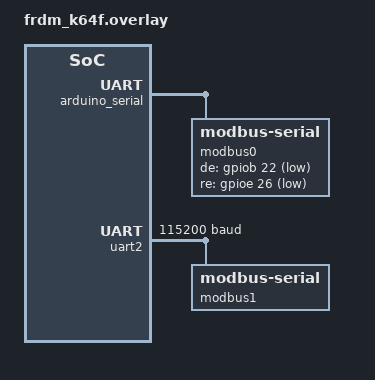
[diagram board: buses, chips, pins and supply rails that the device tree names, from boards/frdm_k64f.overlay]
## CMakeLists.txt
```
# Copyright (c) 2020 PHYTEC Messtechnik GmbH
# SPDX-License-Identifier: Apache-2.0

cmake_minimum_required(VERSION 3.28.0)

find_package(Zephyr REQUIRED HINTS $ENV{ZEPHYR_BASE})
project(test_modbus)

target_sources(app PRIVATE
    src/main.c
    src/test_modbus_client.c
    src/test_modbus_server.c
    src/test_modbus_raw.c
    )

if(CONFIG_UART_EMUL)
  # No serial hardware: connect two emulated UARTs crosswise.
  target_sources(app PRIVATE src/test_modbus_link.c)
endif()
```

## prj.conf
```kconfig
# Copyright (c) 2020 PHYTEC Messtechnik GmbH
# SPDX-License-Identifier: Apache-2.0

CONFIG_LOG=y
CONFIG_ZTEST=y
CONFIG_SERIAL=y
CONFIG_UART_INTERRUPT_DRIVEN=y
CONFIG_UART_LINE_CTRL=n
CONFIG_MODBUS_ASCII_MODE=y

CONFIG_MODBUS=y
CONFIG_MODBUS_RAW_ADU=y
CONFIG_MODBUS_NUMOF_RAW_ADU=2
```

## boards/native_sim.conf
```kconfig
# Copyright The Zephyr Project Contributors
# SPDX-License-Identifier: Apache-2.0

CONFIG_EMUL=y
CONFIG_ASAN=y
```

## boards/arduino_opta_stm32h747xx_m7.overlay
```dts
/*
 * Copyright (c) 2024 DNDG srl
 *
 * SPDX-License-Identifier: Apache-2.0
 */

&usart3 {
	modbus0 {
		status = "okay";
	};
	status = "okay";
};
```

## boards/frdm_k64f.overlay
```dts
/*
 * Copyright (c) 2020 Phytec Messtechnik GmbH
 *
 * SPDX-License-Identifier: Apache-2.0
 */

&arduino_serial {
	status = "okay";

	modbus0 {
		compatible = "zephyr,modbus-serial";
		de-gpios = <&gpiob 22 GPIO_ACTIVE_LOW>;	/* red LED */
		re-gpios = <&gpioe 26 GPIO_ACTIVE_LOW>;	/* green LED */
		status = "okay";
	};
};

&uart2 {
	current-speed = <115200>;
	status = "okay";

	modbus1 {
		compatible = "zephyr,modbus-serial";
		status = "okay";
	};
};
```

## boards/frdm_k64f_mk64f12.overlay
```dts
/*
 * Copyright (c) 2020 Phytec Messtechnik GmbH
 *
 * SPDX-License-Identifier: Apache-2.0
 */

&arduino_serial {
	status = "okay";

	modbus0 {
		compatible = "zephyr,modbus-serial";
		status = "okay";
		de-gpios = <&gpiob 22 GPIO_ACTIVE_LOW>;	/* red LED */
		re-gpios = <&gpioe 26 GPIO_ACTIVE_LOW>;	/* green LED */
	};
};

&uart2 {
	status = "okay";
	current-speed = <115200>;

	modbus1 {
		compatible = "zephyr,modbus-serial";
		status = "okay";
	};
};
```

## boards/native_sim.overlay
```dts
/*
 * Copyright The Zephyr Project Contributors
 *
 * SPDX-License-Identifier: Apache-2.0
 */

/*
 * Two emulated UARTs that test_modbus_link.c connects crosswise, like the
 * wires of the hardware setup.
 */

/ {
	euart0: uart-emul-0 {
		compatible = "zephyr,uart-emul";
		current-speed = <115200>;
		rx-fifo-size = <1024>;
		tx-fifo-size = <1024>;
		latch-buffer-size = <256>;
		status = "okay";

		modbus0: modbus0 {
			compatible = "zephyr,modbus-serial";
			status = "okay";
		};
	};

	euart1: uart-emul-1 {
		compatible = "zephyr,uart-emul";
		current-speed = <115200>;
		rx-fifo-size = <1024>;
		tx-fifo-size = <1024>;
		latch-buffer-size = <256>;
		status = "okay";

		modbus1: modbus1 {
			compatible = "zephyr,modbus-serial";
			status = "okay";
		};
	};
};
```

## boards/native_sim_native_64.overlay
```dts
/*
 * Copyright The Zephyr Project Contributors
 *
 * SPDX-License-Identifier: Apache-2.0
 */

#include "native_sim.overlay"
```

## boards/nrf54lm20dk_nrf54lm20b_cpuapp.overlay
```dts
/*
 * Copyright (c) 2026 Nordic Semiconductor ASA
 *
 * SPDX-License-Identifier: Apache-2.0
 */

/* Test requires following loopback:
 * P1.03 - P1.04
 * P1.13 - P1.14
 */

&pinctrl {
	uart21_default_alt: uart21_default_alt {
		group1 {
			psels = <NRF_PSEL(UART_TX, 1, 3)>,
				<NRF_PSEL(UART_RX, 1, 14)>;
		};
	};

	uart21_sleep_alt: uart21_sleep_alt {
		group1 {
			psels = <NRF_PSEL(UART_TX, 1, 3)>,
				<NRF_PSEL(UART_RX, 1, 14)>;
			low-power-enable;
		};
	};

	uart22_default_alt: uart22_default_alt {
		group1 {
			psels = <NRF_PSEL(UART_TX, 1, 13)>,
				<NRF_PSEL(UART_RX, 1, 4)>;
		};
	};

	uart22_sleep_alt: uart22_sleep_alt {
		group1 {
			psels = <NRF_PSEL(UART_TX, 1, 13)>,
				<NRF_PSEL(UART_RX, 1, 4)>;
			low-power-enable;
		};
	};
};

&uart21 {
	current-speed = <115200>;
	pinctrl-0 = <&uart21_default_alt>;
	pinctrl-1 = <&uart21_sleep_alt>;
	pinctrl-names = "default", "sleep";
	status = "okay";

	modbus0 {
		compatible = "zephyr,modbus-serial";
		de-gpios = <&gpio1 22 GPIO_ACTIVE_HIGH>;
		status = "okay";
	};
};

&uart22 {
	current-speed = <115200>;
	pinctrl-0 = <&uart22_default_alt>;
	pinctrl-1 = <&uart22_sleep_alt>;
	pinctrl-names = "default", "sleep";
	status = "okay";

	modbus1 {
		compatible = "zephyr,modbus-serial";
		de-gpios = <&gpio1 25 GPIO_ACTIVE_HIGH>;
		status = "okay";
	};
};
```

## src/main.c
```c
/*
 * Copyright (c) 2020 PHYTEC Messtechnik GmbH
 *
 * SPDX-License-Identifier: Apache-2.0
 */

#include "test_modbus.h"

ZTEST(modbus, test_setup_low_none)
{
	test_server_setup_low_none();
	test_client_setup_low_none();
	test_coil_wr_rd();
	test_di_rd();
	test_input_reg();
	test_holding_reg();
	test_diagnostic();
	test_client_disable();
	test_server_disable();
}

ZTEST(modbus, test_setup_low_odd)
{
	test_server_setup_low_odd();
	test_client_setup_low_odd();
	test_coil_wr_rd();
	test_di_rd();
	test_input_reg();
	test_holding_reg();
	test_diagnostic();
	test_client_disable();
	test_server_disable();
}

ZTEST(modbus, test_setup_high_even)
{
	test_server_setup_high_even();
	test_client_setup_high_even();
	test_coil_wr_rd();
	test_di_rd();
	test_input_reg();
	test_holding_reg();
	test_diagnostic();
	test_client_disable();
	test_server_disable();
}

ZTEST(modbus, test_setup_ascii)
{
	test_server_setup_ascii();
	test_client_setup_ascii();
	test_coil_wr_rd();
	test_di_rd();
	test_input_reg();
	test_holding_reg();
	test_diagnostic();
	test_client_disable();
	test_server_disable();
}

ZTEST(modbus, test_setup_raw)
{
	test_server_setup_raw();
	test_client_setup_raw();
	test_coil_wr_rd();
	test_di_rd();
	test_input_reg();
	test_holding_reg();
	test_diagnostic();
	test_client_disable();
	test_server_disable();
}

ZTEST(modbus, test_ascii_server_oversized_response)
{
	test_ascii_server_oversized_response();
}

ZTEST(modbus, test_ascii_gateway_oversized_adu)
{
	test_ascii_gateway_oversized_adu();
}

ZTEST_SUITE(modbus, NULL, NULL, NULL, NULL, NULL);
```

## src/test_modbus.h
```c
/*
 * Copyright (c) 2020 PHYTEC Messtechnik GmbH
 *
 * SPDX-License-Identifier: Apache-2.0
 */

#ifndef __TEST_MODBUS_H__
#define __TEST_MODBUS_H__

#include <zephyr/drivers/uart.h>
#include <zephyr/ztest.h>
#include <zephyr/modbus/modbus.h>

#define MB_TEST_BAUDRATE_LOW	9600
#define MB_TEST_BAUDRATE_HIGH	115200
#define MB_TEST_PARITY		UART_CFG_PARITY_NONE
#define MB_TEST_RESPONSE_TO	50000
/* A 513 character ASCII frame takes about 45 ms on the wire at 115200 baud */
#define MB_TEST_RESPONSE_TO_ASCII	150000
#define MB_TEST_NODE_ADDR	0x01
#define MB_TEST_FP_OFFSET	5000
#define MB_TEST_LARGE_OFFSET	0x1000
#define MB_TEST_LARGE_QTY	125

/*
 * Integration platform for this test is FRDM-K64F.
 * The board must be prepared accordingly:
 * UART3(PTC16)-RX <-> UART2(PTD3)-TX pins and
 * UART3(PTC17)-TX <-> UART2(PTD2)-RX pins have to be connected.
 */

uint8_t test_get_client_iface(void);
uint8_t test_get_server_iface(void);

void test_server_setup_low_none(void);
void test_server_setup_low_odd(void);
void test_server_setup_high_even(void);
void test_server_setup_ascii(void);
void test_server_setup_raw(void);
void test_server_disable(void);

void test_client_setup_low_none(void);
void test_client_setup_low_odd(void);
void test_client_setup_high_even(void);
void test_client_setup_ascii(void);
void test_client_setup_raw(void);
void test_coil_wr_rd(void);
void test_di_rd(void);
void test_input_reg(void);
void test_holding_reg(void);
void test_diagnostic(void);
void test_client_disable(void);
void test_ascii_server_oversized_response(void);
void test_ascii_gateway_oversized_adu(void);

int client_raw_cb(const int iface, const struct modbus_adu *adu,
		void *user_data);
int server_raw_cb(const int iface, const struct modbus_adu *adu,
		void *user_data);

#endif /* __TEST_MODBUS_H__ */
```

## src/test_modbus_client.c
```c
/*
 * Copyright (c) 2020 PHYTEC Messtechnik GmbH
 *
 * SPDX-License-Identifier: Apache-2.0
 */

#include "test_modbus.h"

#include <zephyr/logging/log.h>
LOG_MODULE_REGISTER(mbc_test, LOG_LEVEL_INF);

#ifdef CONFIG_MODBUS_CLIENT
const static uint16_t fp_offset = MB_TEST_FP_OFFSET;
const static uint8_t node = MB_TEST_NODE_ADDR;
const static uint16_t offset_oor = 32;
const static uint16_t fp_offset_oor = fp_offset + offset_oor;
#define MB_TEST_FC16_HOLDING_REGS_WR	16

static uint8_t client_iface;

uint8_t test_get_client_iface(void)
{
	return client_iface;
}

void test_coil_wr_rd(void)
{
	const uint8_t coil_qty = 16;
	uint8_t coil[3] = {0};
	int err;

	for (uint16_t idx = 0; idx < coil_qty; idx++) {
		err = modbus_write_coil(client_iface, node, idx, true);
		zassert_equal(err, 0, "FC05 request failed");
	}

	err = modbus_read_coils(client_iface, node, 0, coil, coil_qty);
	zassert_equal(err, 0, "FC01 request failed");

	zassert_equal(coil[0], 0xff, "FC05 verify coil 0-7 failed");
	zassert_equal(coil[1], 0xff, "FC05 verify coil 8-15 failed");

	for (uint16_t numof = 1; numof <= coil_qty; numof++) {
		err = modbus_write_coils(client_iface, node, 0, coil, numof);
		zassert_equal(err, 0, "FC15 request failed");
	}

	coil[0] = 0xaa; coil[1] = 0xbb;
	err = modbus_write_coils(client_iface, node, 0, coil, coil_qty);
	zassert_equal(err, 0, "FC15 request failed");

	err = modbus_read_coils(client_iface, node, 0, coil, coil_qty);
	zassert_equal(err, 0, "FC01 request failed");

	zassert_equal(coil[0], 0xaa, "FC15 verify coil 0-7 failed");
	zassert_equal(coil[1], 0xbb, "FC15 verify coil 8-15 failed");

	err = modbus_write_coil(client_iface, node, offset_oor, true);
	zassert_not_equal(err, 0, "FC05 out of range request not failed");

	err = modbus_write_coils(client_iface, node, offset_oor, coil, coil_qty);
	zassert_not_equal(err, 0, "FC15 out of range request not failed");
}

void test_di_rd(void)
{
	const uint8_t di_qty = 16;
	uint8_t di[4] = {0};
	int err;

	err = modbus_read_dinputs(client_iface, node, 0, di, di_qty);
	zassert_equal(err, 0, "FC02 request failed");

	zassert_equal(di[0], 0xaa, "FC02 verify di 0-7 failed");
	zassert_equal(di[1], 0xbb, "FC02 verify di 8-15 failed");

	err = modbus_read_dinputs(client_iface, node, 0, di, di_qty + 1);
	zassert_not_equal(err, 0, "FC02 out of range request not failed");

	err = modbus_read_dinputs(client_iface, node, offset_oor, di, di_qty);
	zassert_not_equal(err, 0, "FC02 out of range request not failed");
}

void test_input_reg(void)
{
	uint16_t ir[8] = {0};
	int err;

	err = modbus_write_holding_reg(client_iface, node, 0, 0xcafe);
	zassert_equal(err, 0, "FC06 write request for FC04 failed");

	err = modbus_read_input_regs(client_iface, node, 0, ir, ARRAY_SIZE(ir));
	zassert_equal(err, 0, "FC04 request failed");

	zassert_equal(ir[0], 0xcafe, "FC04 verify failed");

	err = modbus_read_input_regs(client_iface,
				     node,
				     offset_oor,
				     ir,
				     ARRAY_SIZE(ir));
	zassert_not_equal(err, 0, "FC04 out of range request not failed");
}

void test_holding_reg(void)
{
	uint16_t hr_wr[8] = {0, 2, 1, 3, 5, 4, 7, 6};
	uint16_t hr_rd[8] = {0};
	float fhr_wr[4] = {48.56470489501953125, 0.3, 0.2, 0.1};
	float fhr_rd[4] = {0.0};
	int err;

	/* Test FC06 | FC03 */
	for (uint16_t idx = 0; idx < ARRAY_SIZE(hr_wr); idx++) {
		err = modbus_write_holding_reg(client_iface, node, idx, hr_wr[idx]);
		zassert_equal(err, 0, "FC06 write request failed");
	}

	err = modbus_write_holding_reg(client_iface, node, offset_oor, 0xcafe);
	zassert_not_equal(err, 0, "FC06 out of range request not failed");

	err = modbus_read_holding_regs(client_iface, node, 0,
				       hr_rd, ARRAY_SIZE(hr_rd));
	zassert_equal(err, 0, "FC03 read request failed");

	LOG_HEXDUMP_DBG(hr_rd, sizeof(hr_rd), "FC06, hr_rd");
	zassert_equal(memcmp(hr_wr, hr_rd, sizeof(hr_wr)), 0,
		      "FC06 verify failed");

	err = modbus_read_holding_regs(client_iface,
				       node,
				       offset_oor,
				       hr_rd,
				       ARRAY_SIZE(hr_rd));
	zassert_not_equal(err, 0, "FC03 out of range request not failed");

	/* Test FC16 | FC03 */
	err = modbus_write_holding_regs(client_iface, node, 0,
					hr_wr, ARRAY_SIZE(hr_wr));
	zassert_equal(err, 0, "FC16 write request failed");

	err = modbus_read_holding_regs(client_iface, node, 0,
				       hr_rd, ARRAY_SIZE(hr_rd));
	zassert_equal(err, 0, "FC03 read request failed");

	LOG_HEXDUMP_DBG(hr_rd, sizeof(hr_rd), "FC16, hr_rd");
	zassert_equal(memcmp(hr_wr, hr_rd, sizeof(hr_wr)), 0,
		      "FC16 verify failed");

	/* Test FC16 | FC03 */
	for (uint16_t idx = 0; idx < ARRAY_SIZE(fhr_wr); idx++) {
		err = modbus_write_holding_regs_fp(client_iface,
						 node,
						 fp_offset + idx * 2,
						 &fhr_wr[0], 1);
		zassert_equal(err, 0, "FC16 write request failed");
	}

	err = modbus_write_holding_regs_fp(client_iface,
					   node,
					   fp_offset,
					   fhr_wr,
					   ARRAY_SIZE(fhr_wr));
	zassert_equal(err, 0, "FC16 FP request failed");

	err = modbus_write_holding_regs_fp(client_iface,
					   node,
					   fp_offset_oor,
					   fhr_wr,
					   ARRAY_SIZE(fhr_wr));
	zassert_not_equal(err, 0, "FC16 FP out of range request not failed");

	err = modbus_read_holding_regs_fp(client_iface,
					  node,
					  fp_offset_oor,
					  fhr_wr,
					  ARRAY_SIZE(fhr_wr));
	zassert_not_equal(err, 0, "FC16 FP out of range request not failed");

	err = modbus_write_holding_regs(client_iface, node, fp_offset,
					hr_wr, ARRAY_SIZE(hr_wr) - 1);
	zassert_not_equal(err, 0, "FC16 write to FP address request not failed");

	err = modbus_read_holding_regs(client_iface, node, fp_offset,
				       hr_rd, ARRAY_SIZE(hr_rd) - 1);
	zassert_not_equal(err, 0, "FC16 read from FP address request not failed");

	err = modbus_read_holding_regs_fp(client_iface,
					  node,
					  fp_offset,
					  fhr_rd,
					  ARRAY_SIZE(fhr_rd));
	zassert_equal(err, 0, "FC03 read request failed");

	LOG_HEXDUMP_DBG(fhr_rd, sizeof(fhr_rd), "FC16FP, fhr_rd");
	zassert_equal(memcmp(fhr_wr, fhr_rd, sizeof(fhr_wr)), 0,
		      "FC16FP verify failed");
}

void test_diagnostic(void)
{
	uint16_t data = 0xcafe;
	int err;

	for (uint16_t sf = 0x0A; sf < 0x0F; sf++) {
		err = modbus_request_diagnostic(client_iface, node, sf, 0, &data);
		zassert_equal(err, 0, "FC08:0x%04x request failed", sf);
	}

	err = modbus_request_diagnostic(client_iface, node, 0xFF, 0, &data);
	zassert_not_equal(err, 0, "FC08 not supported request not failed");
}

/*
 * The interfaces must still work after an oversized ASCII frame. Corrupted
 * interface state makes the transfer fail or the test crash.
 */
static void verify_interfaces_usable(void)
{
	uint16_t reg = 0;
	int err;

	err = modbus_write_holding_reg(client_iface, node, 0, 0xcafe);
	zassert_equal(err, 0, "FC06 request failed after oversized frame");

	err = modbus_read_holding_regs(client_iface, node, 0, &reg, 1);
	zassert_equal(err, 0, "FC03 request failed after oversized frame");
	zassert_equal(reg, 0xcafe, "FC03 verify failed after oversized frame");
}

/*
 * The FC03 response to MB_TEST_LARGE_QTY registers has 2 * 125 + 1 data
 * bytes, which needs an ASCII frame of 511 characters, more than the RTU
 * maximum of 256 bytes. The outcome of the request itself is not checked,
 * only that the server survives it.
 */
void test_ascii_server_oversized_response(void)
{
	uint16_t regs[MB_TEST_LARGE_QTY];

	test_server_setup_ascii();
	test_client_setup_ascii();

	(void)modbus_read_holding_regs(client_iface, node, MB_TEST_LARGE_OFFSET,
				       regs, ARRAY_SIZE(regs));

	verify_interfaces_usable();

	test_client_disable();
	test_server_disable();
}

/*
 * A gateway forwards the ADU of a Modbus/TCP client unchecked. The largest
 * ADU needs an ASCII frame of 513 characters. The outcome of the transfer is
 * not checked, only that the client interface survives it.
 */
void test_ascii_gateway_oversized_adu(void)
{
	struct modbus_adu adu = {
		.unit_id = node,
		.fc = MB_TEST_FC16_HOLDING_REGS_WR,
		.length = sizeof(adu.data),
	};

	test_server_setup_ascii();
	test_client_setup_ascii();

	memset(adu.data, 0xa5, sizeof(adu.data));
	(void)modbus_raw_backend_txn(client_iface, &adu);

	verify_interfaces_usable();

	test_client_disable();
	test_server_disable();
}

static struct modbus_iface_param client_param = {
	.mode = MODBUS_MODE_RTU,
	.rx_timeout = MB_TEST_RESPONSE_TO,
	.serial = {
		.baud = MB_TEST_BAUDRATE_LOW,
		.parity = UART_CFG_PARITY_ODD,
	},
};

/*
 * This test performed on hardware requires two UART controllers
 * on the board (with RX/TX lines connected crosswise).
 * The exact mapping is not required, we assume that both controllers
 * have similar capabilities and use the instance with index 0
 * as interface for the client.
 */
#if DT_NODE_EXISTS(DT_INST(0, zephyr_modbus_serial))
static const char rtu_iface_name[] = {DEVICE_DT_NAME(DT_INST(0, zephyr_modbus_serial))};
#else
static const char rtu_iface_name[] = "";
#endif

void test_client_setup_low_none(void)
{
	int err;

	client_iface = modbus_iface_get_by_name(rtu_iface_name);
	client_param.mode = MODBUS_MODE_RTU;
	client_param.serial.baud = MB_TEST_BAUDRATE_LOW;
	client_param.serial.parity = UART_CFG_PARITY_NONE;

	err = modbus_init_client(client_iface, client_param);
	zassert_equal(err, 0, "Failed to configure RTU client");
}

void test_client_setup_low_odd(void)
{
	int err;

	client_iface = modbus_iface_get_by_name(rtu_iface_name);
	client_param.mode = MODBUS_MODE_RTU;
	client_param.serial.baud = MB_TEST_BAUDRATE_LOW;
	client_param.serial.parity = UART_CFG_PARITY_ODD;

	err = modbus_init_client(client_iface, client_param);
	zassert_equal(err, 0, "Failed to configure RTU client");
}

void test_client_setup_high_even(void)
{
	int err;

	client_iface = modbus_iface_get_by_name(rtu_iface_name);
	client_param.mode = MODBUS_MODE_RTU;
	client_param.serial.baud = MB_TEST_BAUDRATE_HIGH;
	client_param.serial.parity = UART_CFG_PARITY_EVEN;

	err = modbus_init_client(client_iface, client_param);
	zassert_equal(err, 0, "Failed to configure RTU client");
}

void test_client_setup_ascii(void)
{
	struct modbus_iface_param param;
	int err;

	client_iface = modbus_iface_get_by_name(rtu_iface_name);
	client_param.mode = MODBUS_MODE_ASCII;
	client_param.serial.baud = MB_TEST_BAUDRATE_HIGH;
	client_param.serial.parity = UART_CFG_PARITY_EVEN;

	param = client_param;
	param.rx_timeout = MB_TEST_RESPONSE_TO_ASCII;

	err = modbus_init_client(client_iface, param);

	zassert_equal(err, 0, "Failed to configure RTU client");
}

void test_client_setup_raw(void)
{
	char iface_name[] = "RAW_0";
	int err;

	client_iface = modbus_iface_get_by_name(iface_name);
	client_param.mode = MODBUS_MODE_RAW;
	client_param.rawcb.raw_tx_cb = client_raw_cb;
	client_param.rawcb.user_data = NULL;

	err = modbus_init_client(client_iface, client_param);
	zassert_equal(err, 0, "Failed to configure RAW client");
}

void test_client_disable(void)
{
	int err;

	err = modbus_disable(client_iface);
	zassert_equal(err, 0, "Failed to disable RTU client");
}

#else

void test_client_setup_low_none(void)
{
	ztest_test_skip();
}

void test_client_setup_low_odd(void)
{
	ztest_test_skip();
}

void test_client_setup_high_even(void)
{
	ztest_test_skip();
}

void test_client_setup_ascii(void)
{
	ztest_test_skip();
}

void test_coil_wr_rd(void)
{
	ztest_test_skip();
}

void test_di_rd(void)
{
	ztest_test_skip();
}

void test_input_reg(void)
{
	ztest_test_skip();
}

void test_holding_reg(void)
{
	ztest_test_skip();
}

void test_diagnostic(void)
{
	ztest_test_skip();
}

void test_ascii_server_oversized_response(void)
{
	ztest_test_skip();
}

void test_ascii_gateway_oversized_adu(void)
{
	ztest_test_skip();
}

void test_client_disable(void)
{
	ztest_test_skip();
}

void test_client_setup_raw(void)
{
	ztest_test_skip();
}
#endif
```

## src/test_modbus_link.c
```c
/*
 * Copyright The Zephyr Project Contributors
 *
 * SPDX-License-Identifier: Apache-2.0
 */

/*
 * Connect the emulated UARTs crosswise: what one transmits is received by
 * the other.
 */

#include <zephyr/device.h>
#include <zephyr/drivers/serial/uart_emul.h>
#include <zephyr/init.h>

static const struct device *const uart0 = DEVICE_DT_GET(DT_NODELABEL(euart0));
static const struct device *const uart1 = DEVICE_DT_GET(DT_NODELABEL(euart1));

/*
 * The emulated UART links every child node to a device, but the Modbus
 * serial nodes are only configuration for the subsystem.
 */
DEVICE_DT_DEFINE(DT_NODELABEL(modbus0), NULL, NULL, NULL, NULL, POST_KERNEL, 99, NULL);
DEVICE_DT_DEFINE(DT_NODELABEL(modbus1), NULL, NULL, NULL, NULL, POST_KERNEL, 99, NULL);

static void tx_data_ready(const struct device *dev, size_t size, void *user_data)
{
	const struct device *peer = user_data;
	uint8_t buf[64];
	uint32_t len;

	while ((len = uart_emul_get_tx_data(dev, buf, sizeof(buf))) > 0) {
		uart_emul_put_rx_data(peer, buf, len);
	}
}

static int link_init(void)
{
	uart_emul_callback_tx_data_ready_set(uart0, tx_data_ready, (void *)uart1);
	uart_emul_callback_tx_data_ready_set(uart1, tx_data_ready, (void *)uart0);

	return 0;
}

SYS_INIT(link_init, POST_KERNEL, 99);
```

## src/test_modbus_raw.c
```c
/*
 * Copyright (c) 2021 Nordic Semiconductor ASA
 *
 * SPDX-License-Identifier: Apache-2.0
 */

#include "test_modbus.h"

#include <zephyr/logging/log.h>
LOG_MODULE_REGISTER(raw_test, LOG_LEVEL_INF);

static struct modbus_adu tmp_adu;
K_SEM_DEFINE(received, 0, 1);

/*
 * Server wants to send the data back.
 * We just store them in between and pass them to the client.
 */
int server_raw_cb(const int iface, const struct modbus_adu *adu,
		void *user_data)
{
	LOG_DBG("Server raw callback from interface %d", iface);

	tmp_adu.trans_id = adu->trans_id;
	tmp_adu.proto_id = adu->proto_id;
	tmp_adu.length = adu->length;
	tmp_adu.unit_id = adu->unit_id;
	tmp_adu.fc = adu->fc;
	memcpy(tmp_adu.data, adu->data,
	       MIN(adu->length, sizeof(tmp_adu.data)));

	LOG_HEXDUMP_DBG(tmp_adu.data, tmp_adu.length, "resp");
	k_sem_give(&received);

	return 0;
}

/*
 * Client wants to send the data via whatever.
 * We just store it in between and submit to the server.
 */
int client_raw_cb(const int iface, const struct modbus_adu *adu,
		void *user_data)
{
	uint8_t server_iface = test_get_server_iface();
	uint8_t client_iface = test_get_client_iface();

	LOG_DBG("Client raw callback from interface %d", iface);

	tmp_adu.trans_id = adu->trans_id;
	tmp_adu.proto_id = adu->proto_id;
	tmp_adu.length = adu->length;
	tmp_adu.unit_id = adu->unit_id;
	tmp_adu.fc = adu->fc;
	memcpy(tmp_adu.data, adu->data,
	       MIN(adu->length, sizeof(tmp_adu.data)));

	LOG_HEXDUMP_DBG(tmp_adu.data, tmp_adu.length, "c->s");

	/*
	 * modbus_raw_submit_rx() copies the data to the internal memory
	 * so that tmp_adu can be used immediately afterwards.
	 */
	modbus_raw_submit_rx(server_iface, &tmp_adu);

	if (k_sem_take(&received, K_MSEC(1000)) != 0) {
		zassert_true(0, "MODBUS RAW wait time expired");
	}

	modbus_raw_submit_rx(client_iface, &tmp_adu);

	return 0;
}
```

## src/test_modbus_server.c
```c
/*
 * Copyright (c) 2020 PHYTEC Messtechnik GmbH
 *
 * SPDX-License-Identifier: Apache-2.0
 */

#include "test_modbus.h"

#include <zephyr/sys/util.h>
#include <zephyr/logging/log.h>
LOG_MODULE_REGISTER(mbs_test, LOG_LEVEL_INF);

const static uint16_t fp_offset = MB_TEST_FP_OFFSET;
static uint16_t coils;
static uint16_t holding_reg[8];
static float holding_fp[4];

uint8_t server_iface;

uint8_t test_get_server_iface(void)
{
	return server_iface;
}

static int coil_rd(uint16_t addr, bool *state)
{
	if (addr >= (sizeof(coils) * 8)) {
		return -ENOTSUP;
	}

	if (coils & BIT(addr)) {
		*state = true;
	} else {
		*state = false;
	}

	LOG_DBG("Coil read, addr %u, %d", addr, (int)*state);

	return 0;
}

static int coil_wr(uint16_t addr, bool state)
{
	if (addr >= (sizeof(coils) * 8)) {
		return -ENOTSUP;
	}

	if (state == true) {
		coils |= BIT(addr);
	} else {
		coils &= ~BIT(addr);
	}

	LOG_DBG("Coil write, addr %u, %d", addr, (int)state);

	return 0;
}

static int discrete_input_rd(uint16_t addr, bool *state)
{
	if (addr >= (sizeof(coils) * 8)) {
		return -ENOTSUP;
	}

	if (coils & BIT(addr)) {
		*state = true;
	} else {
		*state = false;
	}

	LOG_DBG("Discrete input read, addr %u, %d", addr, (int)*state);

	return 0;
}

static int input_reg_rd(uint16_t addr, uint16_t *reg)
{
	if (addr >= ARRAY_SIZE(holding_reg)) {
		return -ENOTSUP;
	}

	*reg = holding_reg[addr];

	LOG_DBG("Input register read, addr %u, 0x%04x", addr, *reg);

	return 0;
}

static int input_reg_rd_fp(uint16_t addr, float *reg)
{
	if (!IN_RANGE(addr, fp_offset, sizeof(holding_fp) / 2 + fp_offset)) {
		return -ENOTSUP;
	}

	*reg = holding_fp[(addr - fp_offset) / 2];

	LOG_DBG("FP input register read, addr %u", addr);

	return 0;
}

static int holding_reg_rd(uint16_t addr, uint16_t *reg)
{
	if (IN_RANGE(addr, MB_TEST_LARGE_OFFSET,
		     MB_TEST_LARGE_OFFSET + MB_TEST_LARGE_QTY - 1)) {
		*reg = addr;
		return 0;
	}

	if (addr >= ARRAY_SIZE(holding_reg)) {
		return -ENOTSUP;
	}

	*reg = holding_reg[addr];

	LOG_DBG("Holding register read, addr %u", addr);

	return 0;
}

static int holding_reg_wr(uint16_t addr, uint16_t reg)
{
	if (addr >= ARRAY_SIZE(holding_reg)) {
		return -ENOTSUP;
	}

	holding_reg[addr] = reg;

	LOG_DBG("Holding register write, addr %u", addr);

	return 0;
}

static int holding_reg_rd_fp(uint16_t addr, float *reg)
{
	if (!IN_RANGE(addr, fp_offset, sizeof(holding_fp) / 2 + fp_offset)) {
		return -ENOTSUP;
	}

	*reg = holding_fp[(addr - fp_offset) / 2];

	LOG_DBG("FP holding register read, addr %u", addr);

	return 0;
}

static int holding_reg_wr_fp(uint16_t addr, float reg)
{
	if (!IN_RANGE(addr, fp_offset, sizeof(holding_fp) / 2 + fp_offset)) {
		return -ENOTSUP;
	}

	holding_fp[(addr - fp_offset) / 2] = reg;

	LOG_DBG("FP holding register write, addr %u", addr);

	return 0;
}

static struct modbus_user_callbacks mbs_cbs = {
	/** Coil read/write callback */
	.coil_rd = coil_rd,
	.coil_wr = coil_wr,
	/* Discrete Input read callback */
	.discrete_input_rd = discrete_input_rd,
	/* Input Register read callback */
	.input_reg_rd = input_reg_rd,
	/* Floating Point Input Register read callback */
	.input_reg_rd_fp = input_reg_rd_fp,
	/* Holding Register read/write callback */
	.holding_reg_rd = holding_reg_rd,
	.holding_reg_wr = holding_reg_wr,
	/* Floating Point Holding Register read/write callback */
	.holding_reg_rd_fp = holding_reg_rd_fp,
	.holding_reg_wr_fp = holding_reg_wr_fp,
};

static struct modbus_iface_param server_param = {
	.mode = MODBUS_MODE_RTU,
	.server = {
		.user_cb = &mbs_cbs,
		.unit_id = MB_TEST_NODE_ADDR,
	},
	.serial = {
		.baud = MB_TEST_BAUDRATE_LOW,
		.parity = UART_CFG_PARITY_ODD,
	},
};

/*
 * This test performed on hardware requires two UART controllers
 * on the board (with RX/TX lines connected crosswise).
 * The exact mapping is not required, we assume that both controllers
 * have similar capabilities and use the instance with index 1
 * as interface for the server.
 */
#if DT_NODE_EXISTS(DT_INST(1, zephyr_modbus_serial))
static const char rtu_iface_name[] = {DEVICE_DT_NAME(DT_INST(1, zephyr_modbus_serial))};
#else
static const char rtu_iface_name[] = "";
#endif

void test_server_setup_low_odd(void)
{
	int err;

	server_iface = modbus_iface_get_by_name(rtu_iface_name);
	server_param.mode = MODBUS_MODE_RTU;
	server_param.serial.baud = MB_TEST_BAUDRATE_LOW;
	server_param.serial.parity = UART_CFG_PARITY_ODD;

	if (IS_ENABLED(CONFIG_MODBUS_SERVER)) {
		err = modbus_init_server(server_iface, server_param);
		zassert_equal(err, 0, "Failed to configure RTU server");
	} else {
		ztest_test_skip();
	}
}

void test_server_setup_low_none(void)
{
	int err;

	server_iface = modbus_iface_get_by_name(rtu_iface_name);
	server_param.mode = MODBUS_MODE_RTU;
	server_param.serial.baud = MB_TEST_BAUDRATE_LOW;
	server_param.serial.parity = UART_CFG_PARITY_NONE;

	if (IS_ENABLED(CONFIG_MODBUS_SERVER)) {
		err = modbus_init_server(server_iface, server_param);
		zassert_equal(err, 0, "Failed to configure RTU server");
	} else {
		ztest_test_skip();
	}
}

void test_server_setup_high_even(void)
{
	int err;

	server_iface = modbus_iface_get_by_name(rtu_iface_name);
	server_param.mode = MODBUS_MODE_RTU;
	server_param.serial.baud = MB_TEST_BAUDRATE_HIGH;
	server_param.serial.parity = UART_CFG_PARITY_EVEN;

	if (IS_ENABLED(CONFIG_MODBUS_SERVER)) {
		err = modbus_init_server(server_iface, server_param);
		zassert_equal(err, 0, "Failed to configure RTU server");
	} else {
		ztest_test_skip();
	}
}

void test_server_setup_ascii(void)
{
	int err;

	server_iface = modbus_iface_get_by_name(rtu_iface_name);
	server_param.mode = MODBUS_MODE_ASCII;
	server_param.serial.baud = MB_TEST_BAUDRATE_HIGH;
	server_param.serial.parity = UART_CFG_PARITY_EVEN;

	if (IS_ENABLED(CONFIG_MODBUS_SERVER)) {
		err = modbus_init_server(server_iface, server_param);
		zassert_equal(err, 0, "Failed to configure RTU server");
	} else {
		ztest_test_skip();
	}
}

void test_server_setup_raw(void)
{
	char iface_name[] = "RAW_1";
	int err;

	server_iface = modbus_iface_get_by_name(iface_name);
	server_param.mode = MODBUS_MODE_RAW;
	server_param.rawcb.raw_tx_cb = server_raw_cb;

	if (IS_ENABLED(CONFIG_MODBUS_SERVER)) {
		err = modbus_init_server(server_iface, server_param);
		zassert_equal(err, 0, "Failed to configure RAW server");
	} else {
		ztest_test_skip();
	}
}

void test_server_disable(void)
{
	int err;

	if (IS_ENABLED(CONFIG_MODBUS_SERVER)) {
		err = modbus_disable(server_iface);
		zassert_equal(err, 0, "Failed to disable RTU server");
	} else {
		ztest_test_skip();
	}
}
```
